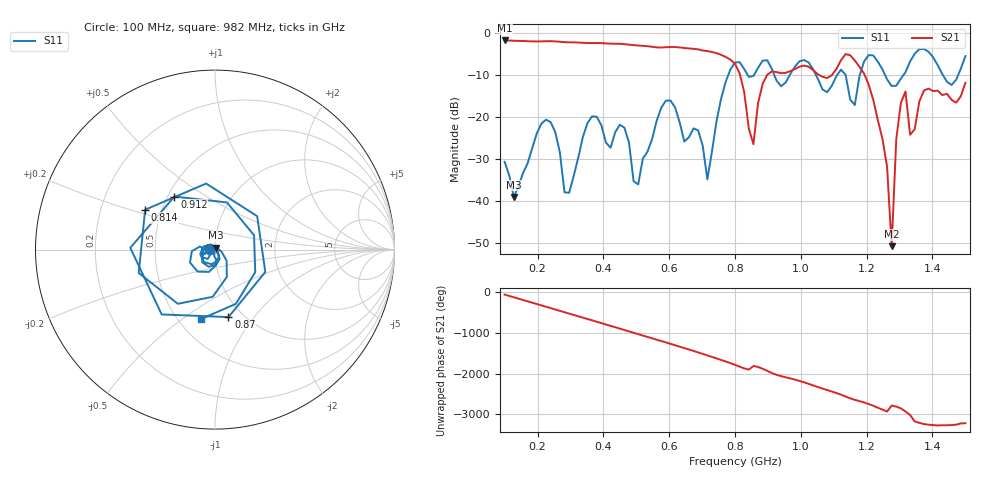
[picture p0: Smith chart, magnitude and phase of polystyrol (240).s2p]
! NanoVNA-App
! Date: 2025-09-25 15:31:45
! Start: 100MHz Stop: 1,5GHz Points: 101
! S-Parameter data: F S11 S21 S12 S22
# Hz S RI R 50
!  Frequency  S11_Real  S11_Imag  S21_Real  S21_Imag  S12_Real  S12_Imag  S22_Real  S22_Imag
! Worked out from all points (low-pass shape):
!   101 points, 100 MHz to 1.5 GHz, reference 50 ohm
!   highest |S21| = -1.80 dB at 100 MHz (marker M1); lowest = -50.8 dB at 1.276 GHz (marker M2)
!   |S21| within 3 dB of the highest: start of sweep to 742.8 MHz
!   lowest |S11| = -39.1 dB at 128 MHz (marker M3), VSWR 1.02, Z = 50.3 + j1.06 ohm
!   |S11| at or under -10 dB: start of sweep to 779.8 MHz; 1.046 GHz to 1.111 GHz (64.94 MHz wide, 6.02 % of centre); 1.256 GHz to 1.312 GHz (56.38 MHz wide, 4.39 % of centre) (the widest 3 of 7)
!   S12 and S22 are empty: the file has one direction only
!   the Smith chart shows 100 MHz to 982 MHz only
!   S11 on the Smith chart (normalised r, x): 100 MHz: 0.94, -0.01; 814 MHz: 0.40, +0.22; 870 MHz: 0.86, -0.75; 912 MHz: 0.54, +0.37; 982 MHz: 0.64, -0.59
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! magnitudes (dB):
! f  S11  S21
! 100 MHz  -30.7  -1.8
! 128 MHz  -39.1  -1.9
! 212 MHz  -21.6  -2.0
! 282 MHz  -37.9  -2.2
! 338 MHz  -24.7  -2.4
! 464 MHz  -22.6  -2.7
! 506 MHz  -36.1  -3.0
! 576 MHz  -17.8  -3.5
! 716 MHz  -34.9  -4.3
! 800 MHz  -7.0  -7.4
! 814 MHz  -7.0  -9.6
! 856 MHz  -10.3  -26.5
! 870 MHz  -8.3  -16.8
! 912 MHz  -8.6  -9.2
! 982 MHz  -8.0  -8.6
! 1.038 GHz  -8.8  -8.9
! 1.192 GHz  -6.8  -9.7
! 1.262 GHz  -11.1  -31.8
! 1.276 GHz  -12.6  -50.8
! 1.29 GHz  -12.6  -25.3
! 1.318 GHz  -9.4  -14.0
! 1.5 GHz  -5.5  -11.9
